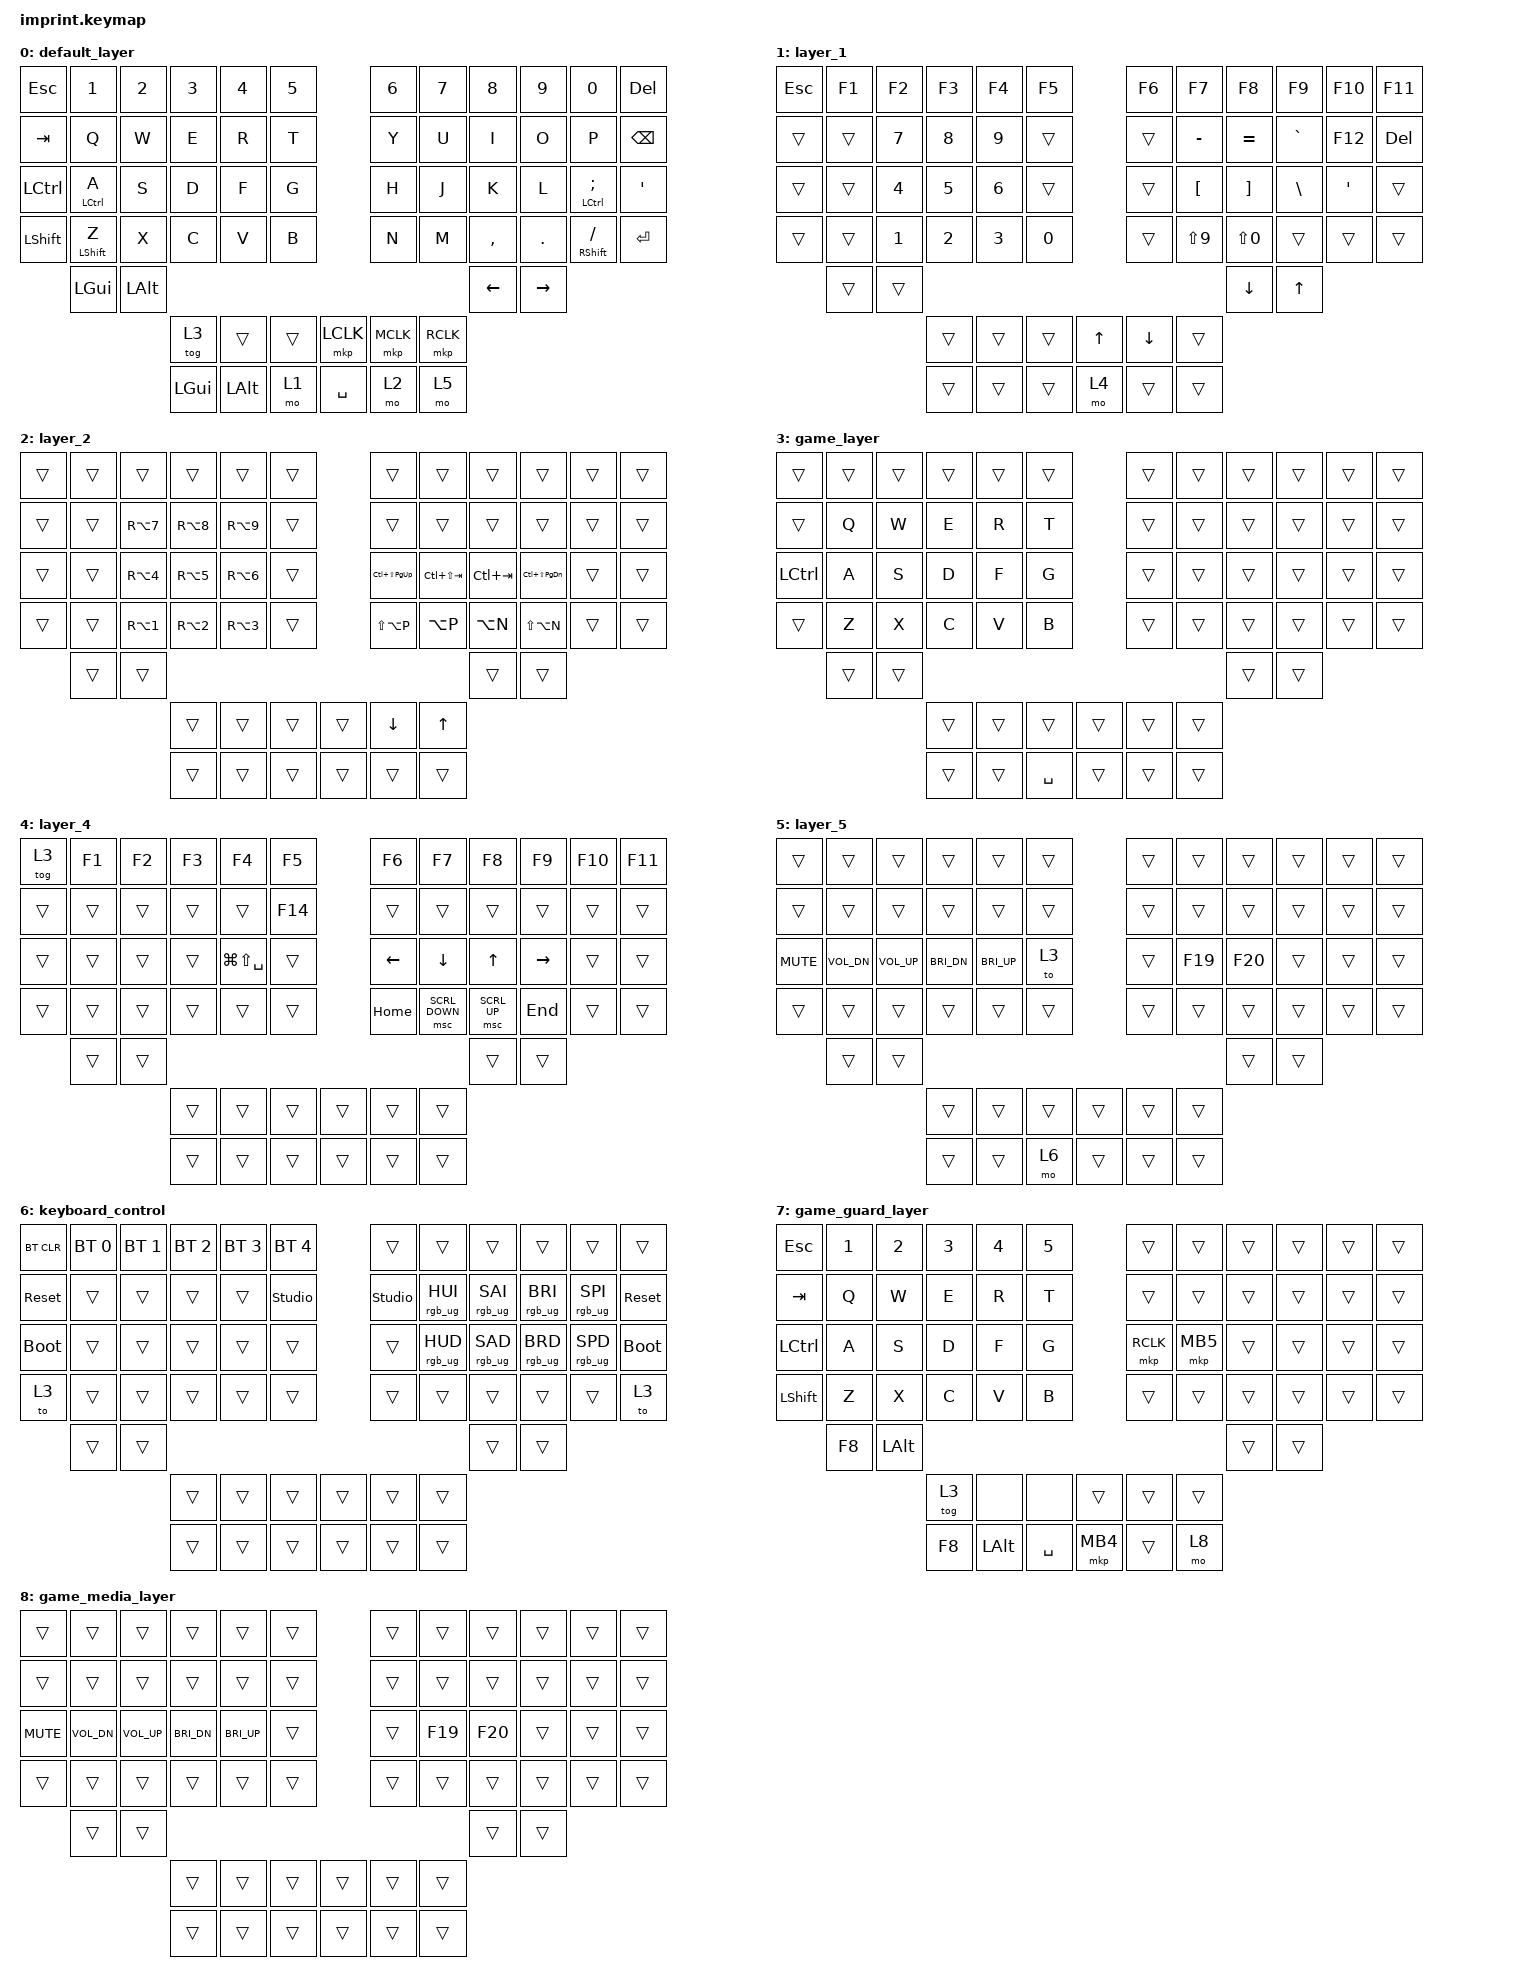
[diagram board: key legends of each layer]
#include <input/processors.dtsi>
#include <dt-bindings/zmk/input_transform.h>
#include <behaviors.dtsi>
#include <dt-bindings/zmk/bt.h>
#include <dt-bindings/zmk/keys.h>
#include <dt-bindings/zmk/pointing.h>
#include <dt-bindings/zmk/rgb.h>

/ {
    chosen { zmk,physical-layout = &physical_layout_imprint_number_row; };

    combos {
        compatible = "zmk,combos";

        combo_bspc {
            timeout-ms = <50>;
            key-positions = <20 21>;
            bindings = <&kp BSPC>;
        };
        combo_enter {
            timeout-ms = <50>;
            key-positions = <32 33>;
            bindings = <&kp ENTER>;
        };
        // Left-hand typing chords: never capture movement keys in game mode.
        // ZMK filters by the highest active layer; game_guard keeps layer 7 on top.
        combo_esc {
            timeout-ms = <50>;
            key-positions = <14 15>;
            bindings = <&kp ESC>;
            layers = <0 1 2 4 5 6>;
        };
        combo_tab {
            timeout-ms = <50>;
            key-positions = <26 27>;
            bindings = <&kp TAB>;
            layers = <0 1 2 4 5 6>;
        };
    };

    conditional_layers {
        compatible = "zmk,conditional-layers";

        game_guard {
            if-layers = <3>;
            then-layer = <7>;
        };
    };

    keymap {
        compatible = "zmk,keymap";

        // Layer 0 — base
        default_layer {
            bindings = <
&kp ESC    &kp N1        &kp N2  &kp N3  &kp N4  &kp N5              &kp N6  &kp N7    &kp N8     &kp N9   &kp N0          &kp DEL
&kp TAB    &kp Q         &kp W   &kp E   &kp R   &kp T               &kp Y   &kp U     &kp I      &kp O    &kp P           &kp BSPC
&kp LCTRL  &mt LCTRL A   &kp S   &kp D   &kp F   &kp G               &kp H   &kp J     &kp K      &kp L    &mt LCTRL SEMI  &kp SQT
&kp LSHFT  &mt LSHFT Z   &kp X   &kp C   &kp V   &kp B               &kp N   &kp M     &kp COMMA  &kp DOT  &mt RSHFT FSLH  &kp ENTER
           &kp LGUI  &kp LALT                                                            &kp LEFT  &kp RIGHT
                                  &tog 3  &trans  &trans   &mkp LCLK  &mkp MCLK  &mkp RCLK
                                  &kp LGUI  &kp LALT  &mo 1   &kp SPACE  &mo 2  &mo 5
            >;
        };

        // Layer 1 — numbers + symbols (hold MO1)
        layer_1 {
            bindings = <
&kp ESC  &kp F1   &kp F2      &kp F3      &kp F4   &kp F5              &kp F6   &kp F7      &kp F8     &kp F9     &kp F10  &kp F11
&trans   &trans   &kp N7      &kp N8      &kp N9   &trans              &trans   &kp MINUS   &kp EQUAL  &kp GRAVE  &kp F12  &kp DEL
&trans   &trans   &kp N4      &kp N5      &kp N6   &trans              &trans   &kp LBKT    &kp RBKT   &kp BSLH   &kp SQT  &trans
&trans   &trans   &kp N1      &kp N2      &kp N3   &kp N0              &trans   &kp LS(N9)  &kp LS(N0) &trans     &trans   &trans
         &trans   &trans                                                                      &kp DOWN   &kp UP
                                    &trans  &trans  &trans   &kp UP    &kp DOWN  &trans
                                    &trans  &trans  &trans   &mo 4     &trans    &trans
            >;
        };

        // Layer 2 — special chars + nav macros (hold MO2)
        layer_2 {
            bindings = <
&trans  &trans  &trans        &trans        &trans        &trans              &trans  &trans            &trans           &trans          &trans             &trans
&trans  &trans  &kp RA(N7)    &kp RA(N8)    &kp RA(N9)    &trans              &trans  &trans            &trans           &trans          &trans             &trans
&trans  &trans  &kp RA(N4)    &kp RA(N5)    &kp RA(N6)    &trans              &kp LC(LS(PG_UP))  &kp LC(LS(TAB))  &kp LC(TAB)  &kp LC(LS(PG_DN))  &trans  &trans
&trans  &trans  &kp RA(N1)    &kp RA(N2)    &kp RA(N3)    &trans              &kp LS(LA(P))  &kp LA(P)  &kp LA(N)  &kp LS(LA(N))  &trans  &trans
        &trans  &trans                                                                                    &trans           &trans
                                    &trans  &trans  &trans   &trans  &kp DOWN  &kp UP
                                    &trans  &trans  &trans   &trans  &trans    &trans
            >;
        };

        // Layer 3 — game toggle (TG3); also activates the protective layer 7.
        game_layer {
            bindings = <
&trans     &trans  &trans  &trans  &trans  &trans              &trans  &trans  &trans  &trans  &trans  &trans
&trans     &kp Q   &kp W   &kp E   &kp R   &kp T               &trans  &trans  &trans  &trans  &trans  &trans
&kp LCTRL  &kp A   &kp S   &kp D   &kp F   &kp G               &trans  &trans  &trans  &trans  &trans  &trans
&trans     &kp Z   &kp X   &kp C   &kp V   &kp B               &trans  &trans  &trans  &trans  &trans  &trans
           &trans  &trans                                                         &trans  &trans
                                &trans  &trans  &trans   &trans  &trans  &trans
                                &trans  &trans  &kp SPACE   &trans  &trans  &trans
            >;
        };

        // Layer 4 — extended nav + F-keys (hold MO4 while on layer 1)
        layer_4 {
            bindings = <
&tog 3   &kp F1   &kp F2   &kp F3   &kp F4   &kp F5              &kp F6    &kp F7          &kp F8         &kp F9    &kp F10  &kp F11
&trans   &trans   &trans   &trans   &trans   &kp F14             &trans    &trans          &trans         &trans    &trans   &trans
&trans   &trans   &trans   &trans   &kp LG(LS(SPACE))  &trans    &kp LEFT  &kp DOWN        &kp UP         &kp RIGHT &trans   &trans
&trans   &trans   &trans   &trans   &trans   &trans              &kp HOME  &msc SCRL_DOWN  &msc SCRL_UP   &kp END   &trans   &trans
         &trans   &trans                                                                    &trans          &trans
                                    &trans  &trans  &trans   &trans  &trans  &trans
                                    &trans  &trans  &trans   &trans  &trans  &trans
            >;
        };

        // Layer 5 — media controls (hold MO5); dedicated Ctrl toggles audio mute.
        // J/K send F19/F20: the host cycles the default playback device down/up.
        // Press MO1 after Media to access keyboard_control (order-sensitive).
        layer_5 {
            bindings = <
&trans  &trans        &trans        &trans        &trans        &trans              &trans  &trans   &trans   &trans  &trans  &trans
&trans  &trans        &trans        &trans        &trans        &trans              &trans  &trans   &trans   &trans  &trans  &trans
&kp C_MUTE  &kp C_VOL_DN  &kp C_VOL_UP  &kp C_BRI_DN  &kp C_BRI_UP  &to 3              &trans  &kp F19  &kp F20  &trans  &trans  &trans
&trans  &trans        &trans        &trans        &trans        &trans              &trans  &trans  &trans  &trans  &trans  &trans
        &trans  &trans                                                               &trans  &trans
                                &trans  &trans  &trans   &trans  &trans  &trans
                                &trans  &trans  &mo 6    &trans  &trans  &trans
            >;
        };

        // Layer 6 — keyboard control: BT, RGB, reset (Media first, then MO1)
        keyboard_control {
            bindings = <
&bt BT_CLR   &bt BT_SEL 0  &bt BT_SEL 1  &bt BT_SEL 2  &bt BT_SEL 3  &bt BT_SEL 4            &trans          &trans           &trans           &trans           &trans           &trans
&sys_reset   &trans        &trans        &trans        &trans        &studio_unlock             &studio_unlock  &rgb_ug RGB_HUI  &rgb_ug RGB_SAI  &rgb_ug RGB_BRI  &rgb_ug RGB_SPI  &sys_reset
&bootloader  &trans        &trans        &trans        &trans        &trans                     &trans          &rgb_ug RGB_HUD  &rgb_ug RGB_SAD  &rgb_ug RGB_BRD  &rgb_ug RGB_SPD  &bootloader
&to 3        &trans        &trans        &trans        &trans        &trans                     &trans          &trans           &trans           &trans           &trans           &to 3
             &trans        &trans                                                                                &trans           &trans
                                                       &trans  &trans  &trans   &trans  &trans  &trans
                                                       &trans  &trans  &trans   &trans  &trans  &trans
            >;
        };

        // Layer 7 — automatic while layer 3 is active; do not toggle directly.
        // Explicit left bindings prevent lower-layer modifiers/macros leaking in.
        // Right hand: H/J send right click/mouse 5 and the right Space thumb sends mouse 4;
        // MO2 stays available for trackball scrolling and MO5 holds the game-mode media layer.
        game_guard_layer {
            bindings = <
&kp ESC    &kp N1  &kp N2  &kp N3  &kp N4  &kp N5              &trans     &trans    &trans  &trans  &trans  &trans
&kp TAB    &kp Q   &kp W   &kp E   &kp R   &kp T               &trans     &trans    &trans  &trans  &trans  &trans
&kp LCTRL  &kp A   &kp S   &kp D   &kp F   &kp G               &mkp RCLK  &mkp MB5  &trans  &trans  &trans  &trans
&kp LSHFT  &kp Z   &kp X   &kp C   &kp V   &kp B               &trans     &trans    &trans  &trans  &trans  &trans
           &kp F8  &kp LALT                                                      &trans  &trans
                                &tog 3  &none  &none   &trans  &trans  &trans
                                &kp F8  &kp LALT  &kp SPACE   &mkp MB4  &trans  &mo 8
            >;
        };

        // Layer 8 — game-mode media (hold MO5 while gaming): the same left media cluster
        // and J/K audio-output keys as layer 5, above the guard; all else stays game-guarded.
        game_media_layer {
            bindings = <
&trans  &trans        &trans        &trans        &trans        &trans              &trans  &trans   &trans   &trans  &trans  &trans
&trans  &trans        &trans        &trans        &trans        &trans              &trans  &trans   &trans   &trans  &trans  &trans
&kp C_MUTE  &kp C_VOL_DN  &kp C_VOL_UP  &kp C_BRI_DN  &kp C_BRI_UP  &trans              &trans  &kp F19  &kp F20  &trans  &trans  &trans
&trans  &trans        &trans        &trans        &trans        &trans              &trans  &trans   &trans   &trans  &trans  &trans
        &trans  &trans                                                               &trans  &trans
                                &trans  &trans  &trans   &trans  &trans  &trans
                                &trans  &trans  &trans   &trans  &trans  &trans
            >;
        };
    };
};

&mt {
    flavor = "tap-preferred";
    tapping-term-ms = <175>;
    require-prior-idle-ms = <150>;
};

&trackball_peripheral_listener {
    scroll_mode {
        layers = <2>;
        input-processors =
            <&zip_xy_scaler 1 3>,
            <&zip_xy_to_scroll_mapper>,
            <&zip_scroll_transform INPUT_TRANSFORM_Y_INVERT>;
    };
};
